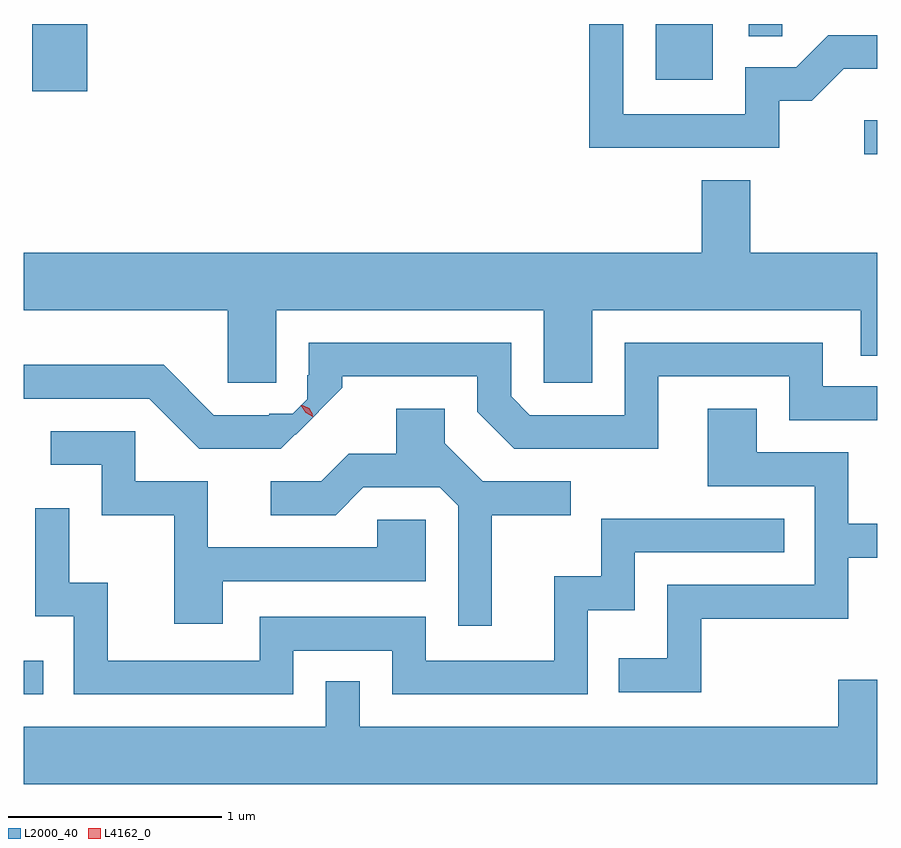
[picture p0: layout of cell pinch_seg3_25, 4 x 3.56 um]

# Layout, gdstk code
import gdstk
lib = gdstk.Library(unit=1e-6, precision=1e-09)
def R(c, l, rs):  # rectangles x0, y0, x1, y1
    for r in rs: c.add(gdstk.rectangle(r[:2], r[2:], *l))
def P(c, l, *ps):  # polygons
    for p in ps: c.add(gdstk.Polygon(p, *l))
L2000_40 = (2000, 40)
L4162_0 = (4162, 0)

pinch_seg3_25 = lib.new_cell('pinch_seg3_25')
R(pinch_seg3_25, L2000_40, [(1860.615,1219.676,1860.708,1219.834), (1864.553,1222.206,1864.615,1222.364), (1860.656,1222.501,1860.914,1222.816), (1863.576,1222.556,1863.844,1222.816), (1864.011,1222.758,1864.169,1222.816)])
P(pinch_seg3_25, L2000_40, [(1864.154,1222.456),(1864.307,1222.456),(1864.457,1222.606),(1864.615,1222.606),(1864.615,1222.764),(1864.384,1222.764),(1864.234,1222.614),(1863.996,1222.614),(1863.996,1222.394),(1863.424,1222.394),(1863.424,1222.816),(1863.266,1222.816),(1863.266,1222.236),(1864.154,1222.236)],
  [(1861.799,1221.476),(1863.051,1221.476),(1863.051,1221.136),(1863.279,1221.136),(1863.279,1221.476),(1864.536,1221.476),(1864.536,1221.263),(1864.615,1221.263),(1864.615,1221.744),(1864.019,1221.744),(1864.019,1222.084),(1863.791,1222.084),(1863.791,1221.744),(1860.615,1221.744),(1860.615,1221.476),(1861.571,1221.476),(1861.571,1221.136),(1861.799,1221.136)],
  [(1861.887,1220.894),(1861.889,1220.891),(1862.109,1221.111),(1862.109,1221.166),(1862.741,1221.166),(1862.741,1220.999),(1862.914,1220.826),(1863.589,1220.826),(1863.589,1221.166),(1864.201,1221.166),(1864.201,1220.961),(1864.615,1220.961),(1864.615,1221.119),(1864.359,1221.119),(1864.359,1221.324),(1863.431,1221.324),(1863.431,1220.984),(1862.987,1220.984),(1862.899,1221.072),(1862.899,1221.324),(1861.951,1221.324),(1861.951,1221.17),(1861.944,1221.17),(1861.944,1221.059),(1861.876,1220.991),(1861.765,1220.991),(1861.765,1220.984),(1861.507,1220.984),(1861.272,1221.219),(1860.615,1221.219),(1860.615,1221.061),(1861.204,1221.061),(1861.439,1220.826),(1861.819,1220.826)],
  [(1862.809,1220.516),(1863.178,1220.516),(1863.178,1220.674),(1862.767,1220.674),(1862.589,1220.852),(1862.589,1221.014),(1862.361,1221.014),(1862.361,1220.804),(1862.139,1220.804),(1862.009,1220.674),(1861.773,1220.674),(1861.773,1220.516),(1862.077,1220.516),(1862.207,1220.646),(1862.564,1220.646),(1862.651,1220.559),(1862.651,1219.998),(1862.809,1219.998)],
  [(1863.789,1220.031),(1864.479,1220.031),(1864.479,1220.316),(1864.615,1220.316),(1864.615,1220.474),(1864.479,1220.474),(1864.479,1220.809),(1864.049,1220.809),(1864.049,1221.014),(1863.821,1221.014),(1863.821,1220.651),(1864.321,1220.651),(1864.321,1220.189),(1863.631,1220.189),(1863.631,1219.844),(1863.403,1219.844),(1863.403,1219.686),(1863.789,1219.686)],
  [(1861.549,1220.206),(1862.499,1220.206),(1862.499,1220.494),(1862.271,1220.494),(1862.271,1220.364),(1861.479,1220.364),(1861.479,1220.674),(1861.139,1220.674),(1861.139,1220.909),(1860.743,1220.909),(1860.743,1220.751),(1860.981,1220.751),(1860.981,1220.516),(1861.321,1220.516),(1861.321,1220.006),(1861.549,1220.006)],
  [(1861.879,1219.881),(1862.341,1219.881),(1862.341,1219.676),(1863.259,1219.676),(1863.259,1220.071),(1863.479,1220.071),(1863.479,1220.341),(1864.178,1220.341),(1864.178,1220.499),(1863.321,1220.499),(1863.321,1220.229),(1863.101,1220.229),(1863.101,1219.834),(1862.499,1219.834),(1862.499,1220.039),(1861.721,1220.039),(1861.721,1219.834),(1861.009,1219.834),(1861.009,1220.199),(1860.829,1220.199),(1860.829,1220.548),(1860.671,1220.548),(1860.671,1220.041),(1860.851,1220.041),(1860.851,1219.676),(1861.879,1219.676)],
  [(1864.615,1219.744),(1864.431,1219.744),(1864.431,1219.524),(1862.189,1219.524),(1862.189,1219.738),(1862.031,1219.738),(1862.031,1219.524),(1860.615,1219.524),(1860.615,1219.256),(1864.615,1219.256)])
P(pinch_seg3_25, L4162_0, [(1861.97,1220.976),(1861.936,1220.996),(1861.914,1221.03),(1861.914,1221.03),(1861.915,1221.03),(1861.95,1221.01),(1861.971,1220.977),(1861.971,1220.976)],
  [(1861.969,1220.986),(1861.94,1221),(1861.923,1221.028),(1861.923,1221.029),(1861.924,1221.029),(1861.953,1221.015),(1861.97,1220.987),(1861.97,1220.986)])

lib.write_gds('pinch_seg3_25.gds')
